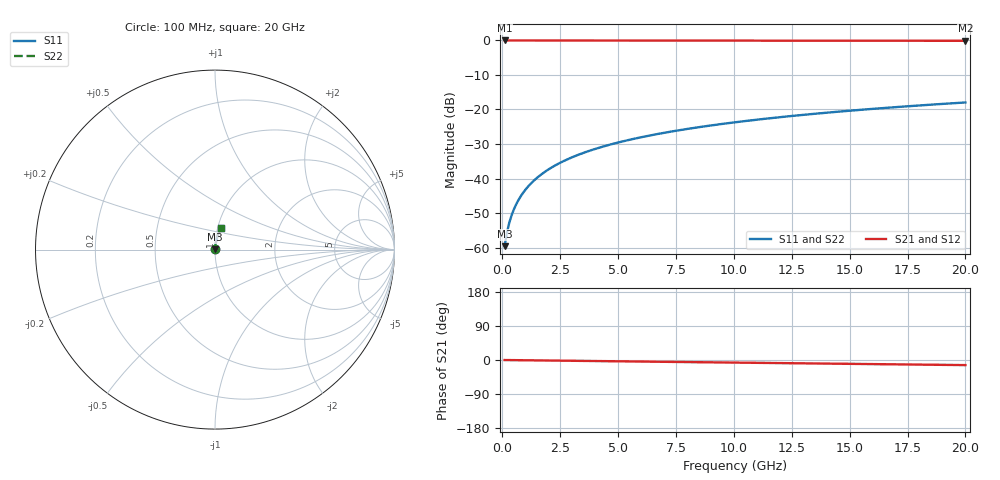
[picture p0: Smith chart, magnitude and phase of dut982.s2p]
! Touchstone file exported from HFSS 2026.1.0
!  File:  C:/ffzhzh/LocalFiles/Ansys_Project_Files/temp_train_BSMRDL_982_1783172797_22436.aedt
!  Generated:  09:47:47 PM Jul  4, 2026
!  Design:  BSMRDL
!  Project:  temp_train_BSMRDL_982_1783172797_22436
! Variables:
!  h_bsmrdl = 4.99um
!  h_ox = 20um
!  h_rdl = 5um
!  h_sub = 80um
!  h_tmrdl = 5um
!  h_tsv = 80um
!  h_via = 3um
!  l_bsmrdl = 172.81um
!  l_sub = 572.81um
!  l_tmrdl = 200um
!  m_sub = 200um
!  pitch = 43.59um
!  r_tsv = 6um
!  s_tmrdl = 10um
!  w_bsmrdl = 20.89um
!  w_sub = 500um
!  w_tmrdl = 12um
!  x_tsv_center1 = 206um
!  x_tsv_center2 = 399.7um
!  x_tsv_center3 = 611.7um
!  x_tsv_center4 = 805.4um
!  x_tsv_center5 = 1017.4um
!  x_tsv_center6 = 1211.1um
# GHz S MA R 50.000000
! Terminal data exported
! Port[1] = BSM_RDL1_1_T1
! Port[2] = BSM_RDL1_1_T2
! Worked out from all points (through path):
!   200 points, 100 MHz to 20 GHz, reference 50 ohm
!   highest |S21| = -0.01 dB at 100 MHz (marker M1); lowest = -0.1 dB at 20 GHz (marker M2)
!   group delay of S21, straight-line fit = 1.87 ps
!   lowest |S11| = -59.6 dB at 100 MHz (marker M3), VSWR 1.00, Z = 50.1 + j0.0741 ohm
!   |S11| at or under -10 dB: start of sweep to end of sweep
!   |S22| runs from -59.6 to -18.0 dB; largest |S21 - S12| = 3.4e-15
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0.1  0.001048 44.9  0.9993 -0.1  0.9993 -0.1  0.001048 44.9
! Gamma 0 0 0 0
! Port Impedance 50 0 50 0
0.2  0.001645 61.3  0.9992 -0.1  0.9992 -0.1  0.001645 61.3
0.3  0.002279 68.6  0.9992 -0.2  0.9992 -0.2  0.002279 68.6
0.4  0.002922 72.8  0.9991 -0.3  0.9991 -0.3  0.002922 72.8
0.5  0.003574 75.5  0.9991 -0.4  0.9991 -0.4  0.003574 75.5
0.6  0.004231 77.5  0.9991 -0.4  0.9991 -0.4  0.004231 77.5
0.8  0.005558 80.0  0.9991 -0.6  0.9991 -0.6  0.005558 80.0
1.1  0.007562 82.0  0.999 -0.8  0.999 -0.8  0.007562 82.0
1.5  0.01024 83.2  0.9989 -1.0  0.9989 -1.0  0.01024 83.2
1.8  0.01225 83.7  0.9988 -1.3  0.9988 -1.3  0.01225 83.7
2.1  0.01425 83.9  0.9988 -1.5  0.9988 -1.5  0.01425 83.9
2.7  0.01823 84.1  0.9986 -1.9  0.9986 -1.9  0.01823 84.1
3.5  0.02349 84.0  0.9982 -2.4  0.9982 -2.4  0.02349 84.0
4.2  0.02806 83.7  0.9979 -2.9  0.9979 -2.9  0.02806 83.7
5  0.03322 83.3  0.9976 -3.5  0.9976 -3.5  0.03322 83.3
5.9  0.039 82.9  0.9972 -4.1  0.9972 -4.1  0.039 82.9
6.8  0.04473 82.4  0.9967 -4.7  0.9967 -4.7  0.04473 82.4
8.3  0.05423 81.6  0.996 -5.7  0.996 -5.7  0.05423 81.6
10.1  0.06555 80.6  0.995 -6.9  0.995 -6.9  0.06555 80.6
13.4  0.08611 78.7  0.993 -9.1  0.993 -9.1  0.08611 78.7
16.7  0.1064 76.7  0.9907 -11.3  0.9907 -11.3  0.1064 76.7
20  0.1264 74.7  0.988 -13.5  0.988 -13.5  0.1264 74.7
